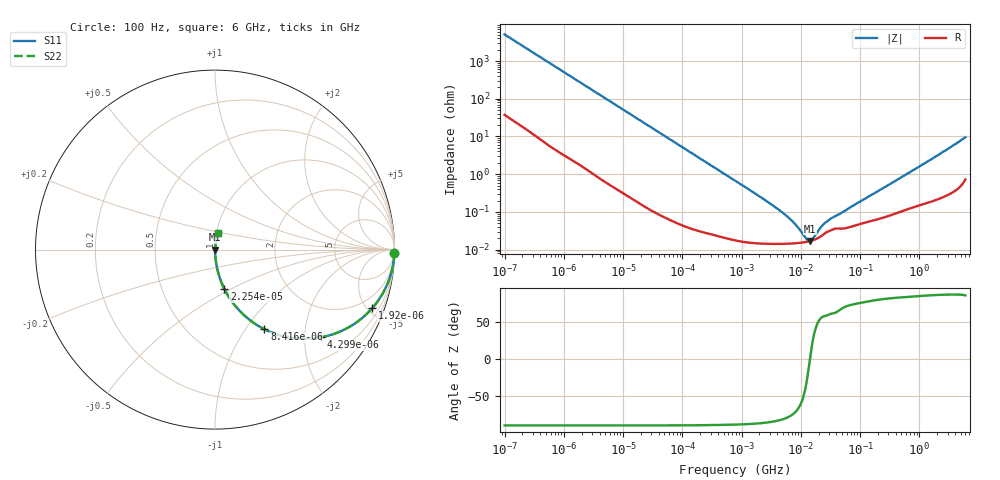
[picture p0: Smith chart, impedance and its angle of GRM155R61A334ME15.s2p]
!Murata Part Number: GRM155R61A334ME15
!These Parameters are Measured in Series Mode Connection
!Data Generated on Mar 30, 2021
!  o--ll--o
!Port1  Port2
!  o------o
!Operation Temp=25[degC], DC Bias Voltage=0[V]
!Freq. Start=100[Hz] Stop=6[GHz] 401[Steps]
# Hz S RI R 50
!Freq.(Hz) S11(Real) S11(Imag) S21(Real) S21(Imag) S12(Real) S12(Imag) S22(Real) S22(Imag)
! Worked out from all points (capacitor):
!   401 points, 100 Hz to 6 GHz, reference 50 ohm
!   read as one part in series: C = 313 nF near 109 Hz
!   lowest |Z| = 16.8 mohm at 14.22 MHz (marker M1)
!   series resonance near 14.27 MHz, so ESL is about 400 pH
!   S11 on the Smith chart (normalised r, x): 100 Hz: open; 1.92 kHz: 1.03, -5.35; 4.299 kHz: 1.01, -2.40; 8.416 kHz: 1.01, -1.23; 22.54 kHz: 1.00, -0.46; 6 GHz: 1.01, +0.19
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100  0.9995 -0.0197  0.000533 0.0197  0.000533 0.0197  0.9995 -0.0197
548  0.988 -0.1058  0.012 0.1058  0.012 0.1058  0.988 -0.1058
1122  0.9531 -0.2083  0.0469 0.2083  0.0469 0.2083  0.9531 -0.2083
1920  0.8759 -0.3266  0.1241 0.3266  0.1241 0.3266  0.8759 -0.3266
2008  0.866 -0.3375  0.134 0.3375  0.134 0.3375  0.866 -0.3375
4299  0.5892 -0.489  0.4108 0.489  0.4108 0.489  0.5892 -0.489
8416  0.275 -0.4435  0.725 0.4435  0.725 0.4435  0.275 -0.4435
13169  0.1353 -0.339  0.8647 0.339  0.8647 0.339  0.1353 -0.339
22537  0.0515 -0.218  0.9485 0.218  0.9485 0.218  0.0515 -0.218
40335  0.0171 -0.1265  0.9829 0.1265  0.9829 0.1265  0.0171 -0.1265
129199  0.002 -0.0403  0.998 0.0403  0.998 0.0403  0.002 -0.0403
774597  0.000221 -0.00677  0.9998 0.00677  0.9998 0.00677  0.000221 -0.00677
5079039  0.000143 -0.000907  0.9999 0.000907  0.9999 0.000907  0.000143 -0.000907
7947587  0.000147 -0.000458  0.9999 0.000458  0.9999 0.000458  0.000147 -0.000458
1.243624e7  0.00016 -0.000102  0.9998 0.000102  0.9998 0.000102  0.00016 -0.000102
1.422411e7  0.000168 -2.4e-06  0.9998 2.4e-06  0.9998 2.4e-06  0.000168 -2.4e-06
1.555665e7  0.000175 6.4e-05  0.9998 -6.4e-05  0.9998 -6.4e-05  0.000175 6.4e-05
2.225763e7  0.00023 0.000335  0.9998 -0.000335  0.9998 -0.000335  0.00023 0.000335
2.911731e7  0.000302 0.000509  0.9997 -0.000509  0.9997 -0.000509  0.000302 0.000509
3.124326e8  0.000819 0.00527  0.9992 -0.00527  0.9992 -0.00527  0.000819 0.00527
1.873145e9  0.00287 0.0289  0.9971 -0.0289  0.9971 -0.0289  0.00287 0.0289
6e9  0.016 0.0928  0.984 -0.0928  0.984 -0.0928  0.016 0.0928
